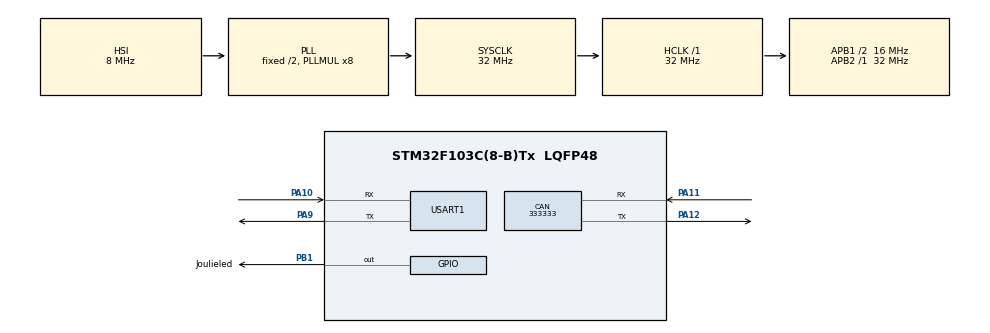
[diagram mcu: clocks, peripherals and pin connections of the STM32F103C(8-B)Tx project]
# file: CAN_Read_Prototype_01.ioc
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CAN.CalculateBaudRate=333333
CAN.CalculateTimeBit=3000
CAN.CalculateTimeQuantum=1000.0
Mcu.Family=STM32F1
Mcu.Name=STM32F103C(8-B)Tx
Mcu.Package=LQFP48
NVIC.PriorityGroup=NVIC_PRIORITYGROUP_4
NVIC.USB_LP_CAN1_RX0_IRQn=true\:0\:0\:false\:false\:true\:true\:true\:true
PA10.Mode=Asynchronous
PA10.Signal=USART1_RX
PA11.Mode=CAN_Activate
PA11.Signal=CAN_RX
PA12.Mode=CAN_Activate
PA12.Signal=CAN_TX
PA13.Mode=Trace_Asynchronous_SW
PA13.Signal=SYS_JTMS-SWDIO
PA14.Mode=Trace_Asynchronous_SW
PA14.Signal=SYS_JTCK-SWCLK
PA9.Mode=Asynchronous
PA9.Signal=USART1_TX
PB1.GPIO_Label=Joulieled
PB1.Signal=GPIO_Output
PB3.Mode=Trace_Asynchronous_SW
PB3.Signal=SYS_JTDO-TRACESWO
ProjectManager.HeapSize=0x200
ProjectManager.StackSize=0x400
ProjectManager.TargetToolchain=STM32CubeIDE
RCC.AHBFreq_Value=32000000
RCC.APB1CLKDivider=RCC_HCLK_DIV2
RCC.APB1Freq_Value=16000000
RCC.APB1TimFreq_Value=32000000
RCC.APB2Freq_Value=32000000
RCC.APB2TimFreq_Value=32000000
RCC.HCLKFreq_Value=32000000
RCC.PLLMUL=RCC_PLL_MUL8
RCC.SYSCLKFreq_VALUE=32000000
RCC.SYSCLKSource=RCC_SYSCLKSOURCE_PLLCLK
RCC.USBFreq_Value=32000000
USART1.VirtualMode=VM_ASYNC
board=custom

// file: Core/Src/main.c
/* USER CODE BEGIN Header */
/**
  ******************************************************************************
  * @file           : main.c
  * @brief          : Main program body
  ******************************************************************************
  * @attention
  *
  * Copyright (c) 2022 STMicroelectronics.
  * All rights reserved.
  *
  * This software is licensed under terms that can be found in the LICENSE file
  * in the root directory of this software component.
  * If no LICENSE file comes with this software, it is provided AS-IS.
  *
  ******************************************************************************
  */
/* USER CODE END Header */
#include "main.h"

/* USER CODE BEGIN Includes */
#include <string.h>
#include "conversion_can.h"
#include "traitement_data.h"
/* USER CODE END Includes */

CAN_HandleTypeDef hcan;

UART_HandleTypeDef huart1;

void SystemClock_Config(void);
static void MX_GPIO_Init(void);
static void MX_CAN_Init(void);
static void MX_USART1_UART_Init(void);

/* USER CODE BEGIN 0 */
//recevoir le message CAN en interruption

/*
uint32_t tempus=0;
uint32_t tempus2=0;

tablo_typedef tab[]=
{
		{"Vx",0x0D},
		{"carbu",0x2F},
		{"dist",0x21},
		{"demar_moteur",0x1F},
		{"carbu_typ",0x51},
		{"conso",0x5E},
		{"temper_eau",0x67},
		{"temp_huil",0x5C},
		{"pos_pdle",0x5A},
		{"temper_liq",0x05}
};
*/

CAN_RxHeaderTypeDef Rxheader;
uint8_t RxData[8];
int datacheck;

void HAL_CAN_WakeUpFromRxMsgCallback(CAN_HandleTypeDef *hcan)
{
	datacheck=1;

	//if(HAL_CAN_GetRxFifoFillLevel(hcan,CAN_RX_FIFO0)==0)
	//{

	  //Acquisition + verification
	 /*if( HAL_CAN_GetRxMessage(hcan,CAN_RX_FIFO0, &Rxheader, RxData) != HAL_OK)
	  {
		  datacheck=0;
		  Error_Handler();
	  }
	  else{
		  datacheck=1;
	  }*/

	  //Si ID=103
	   /*if (Rxheader.StdId == 0x103)
	  {
		  //Levée du flag
		  datacheck = 1;
	  }*/

	 // CAN_receive_FIFO_number;
	 //Flag haut
	  /*if( datacheck == 1 )
	  {
		  traitement(Rxheader.StdId, RxData);

	  }*/

	//}

}
void fct(CAN_HandleTypeDef *hcan)

{
	 if(HAL_CAN_GetRxMessage(hcan,CAN_RX_FIFO0, &Rxheader, RxData) != HAL_OK)
		  {
			  datacheck=0;
			  Error_Handler();
		  }
		  else{
			  datacheck=1;
		  }
	 //Flag haut
		  if( datacheck == 1 )
		  {
			  traitement(RxData);

		  }
}

/* USER CODE END 0 */

int main(void)
{
  /* USER CODE BEGIN 1 */
	//on vérifie que le can s'active correctement, sinon , retour d'erreur

  /* USER CODE END 1 */

  /* MCU Configuration--------------------------------------------------------*/

  /* Reset of all peripherals, Initializes the Flash interface and the Systick. */
  HAL_Init();

  /* USER CODE BEGIN Init */
  init(&huart1);
  /* USER CODE END Init */

  /* Configure the system clock */
  SystemClock_Config();

  /* Initialize all configured peripherals */
  MX_GPIO_Init();
  MX_CAN_Init();
  MX_USART1_UART_Init();
  /* USER CODE BEGIN 2 */
  if ( HAL_CAN_ActivateNotification(&hcan,CAN_IT_RX_FIFO0_MSG_PENDING) != HAL_OK)
  	{
  		Error_Handler();
  	}
  /* USER CODE END 2 */

  /* Infinite loop */
  while (1)
  {

    /* USER CODE BEGIN 3 */
  }

  uint8_t trame_test[8] = {0x03, 0x41, 0x0D, 0x32, 0xAA, 0xAA, 0xAA, 0xAA};
  traitement(trame_test);

  /* USER CODE END 3 */
}

void SystemClock_Config(void)
{
  RCC_OscInitTypeDef RCC_OscInitStruct = {0};
  RCC_ClkInitTypeDef RCC_ClkInitStruct = {0};

  /** Initializes the RCC Oscillators according to the specified parameters
  * in the RCC_OscInitTypeDef structure.
  */
  RCC_OscInitStruct.OscillatorType = RCC_OSCILLATORTYPE_HSI;
  RCC_OscInitStruct.HSIState = RCC_HSI_ON;
  RCC_OscInitStruct.HSICalibrationValue = RCC_HSICALIBRATION_DEFAULT;
  RCC_OscInitStruct.PLL.PLLState = RCC_PLL_ON;
  RCC_OscInitStruct.PLL.PLLSource = RCC_PLLSOURCE_HSI_DIV2;
  RCC_OscInitStruct.PLL.PLLMUL = RCC_PLL_MUL8;
  if (HAL_RCC_OscConfig(&RCC_OscInitStruct) != HAL_OK)
  {
    Error_Handler();
  }

  /** Initializes the CPU, AHB and APB buses clocks
  */
  RCC_ClkInitStruct.ClockType = RCC_CLOCKTYPE_HCLK|RCC_CLOCKTYPE_SYSCLK
                              |RCC_CLOCKTYPE_PCLK1|RCC_CLOCKTYPE_PCLK2;
  RCC_ClkInitStruct.SYSCLKSource = RCC_SYSCLKSOURCE_PLLCLK;
  RCC_ClkInitStruct.AHBCLKDivider = RCC_SYSCLK_DIV1;
  RCC_ClkInitStruct.APB1CLKDivider = RCC_HCLK_DIV2;
  RCC_ClkInitStruct.APB2CLKDivider = RCC_HCLK_DIV1;

  if (HAL_RCC_ClockConfig(&RCC_ClkInitStruct, FLASH_LATENCY_1) != HAL_OK)
  {
    Error_Handler();
  }
}

static void MX_CAN_Init(void)
{

  hcan.Instance = CAN1;
  hcan.Init.Prescaler = 16;
  hcan.Init.Mode = CAN_MODE_NORMAL;
  hcan.Init.SyncJumpWidth = CAN_SJW_1TQ;
  hcan.Init.TimeSeg1 = CAN_BS1_1TQ;
  hcan.Init.TimeSeg2 = CAN_BS2_1TQ;
  hcan.Init.TimeTriggeredMode = DISABLE;
  hcan.Init.AutoBusOff = DISABLE;
  hcan.Init.AutoWakeUp = DISABLE;
  hcan.Init.AutoRetransmission = DISABLE;
  hcan.Init.ReceiveFifoLocked = DISABLE;
  hcan.Init.TransmitFifoPriority = DISABLE;
  if (HAL_CAN_Init(&hcan) != HAL_OK)
  {
    Error_Handler();
  }

}

static void MX_USART1_UART_Init(void)
{

  huart1.Instance = USART1;
  huart1.Init.BaudRate = 115200;
  huart1.Init.WordLength = UART_WORDLENGTH_8B;
  huart1.Init.StopBits = UART_STOPBITS_1;
  huart1.Init.Parity = UART_PARITY_NONE;
  huart1.Init.Mode = UART_MODE_TX_RX;
  huart1.Init.HwFlowCtl = UART_HWCONTROL_NONE;
  huart1.Init.OverSampling = UART_OVERSAMPLING_16;
  if (HAL_UART_Init(&huart1) != HAL_OK)
  {
    Error_Handler();
  }

}

static void MX_GPIO_Init(void)
{
  GPIO_InitTypeDef GPIO_InitStruct = {0};

  /* GPIO Ports Clock Enable */
  __HAL_RCC_GPIOB_CLK_ENABLE();
  __HAL_RCC_GPIOA_CLK_ENABLE();

  /*Configure GPIO pin Output Level */
  HAL_GPIO_WritePin(Joulieled_GPIO_Port, Joulieled_Pin, GPIO_PIN_RESET);

  /*Configure GPIO pin : Joulieled_Pin */
  GPIO_InitStruct.Pin = Joulieled_Pin;
  GPIO_InitStruct.Mode = GPIO_MODE_OUTPUT_PP;
  GPIO_InitStruct.Pull = GPIO_NOPULL;
  GPIO_InitStruct.Speed = GPIO_SPEED_FREQ_LOW;
  HAL_GPIO_Init(Joulieled_GPIO_Port, &GPIO_InitStruct);

}

void Error_Handler(void)
{
  __disable_irq();
  while (1)
  {
  }
}
